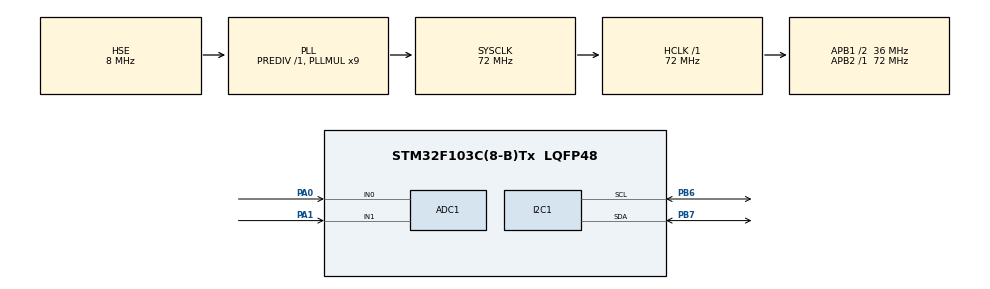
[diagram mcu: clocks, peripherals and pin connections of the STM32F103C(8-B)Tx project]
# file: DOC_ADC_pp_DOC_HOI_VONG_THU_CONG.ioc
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ADC1.Channel-0\#ChannelRegularConversion=ADC_CHANNEL_1
ADC1.Channel-1\#ChannelRegularConversion=ADC_CHANNEL_0
ADC1.ContinuousConvMode=ENABLE
ADC1.NbrOfConversion=2
ADC1.NbrOfConversionFlag=1
ADC1.Rank-0\#ChannelRegularConversion=1
ADC1.Rank-1\#ChannelRegularConversion=2
ADC1.SamplingTime-0\#ChannelRegularConversion=ADC_SAMPLETIME_239CYCLES_5
ADC1.SamplingTime-1\#ChannelRegularConversion=ADC_SAMPLETIME_239CYCLES_5
ADC1.master=1
Mcu.Family=STM32F1
Mcu.Name=STM32F103C(8-B)Tx
Mcu.Package=LQFP48
NVIC.PriorityGroup=NVIC_PRIORITYGROUP_4
PA0-WKUP.Signal=ADCx_IN0
PA1.Signal=ADCx_IN1
PA13.Mode=Serial_Wire
PA13.Signal=SYS_JTMS-SWDIO
PA14.Mode=Serial_Wire
PA14.Signal=SYS_JTCK-SWCLK
PB6.Mode=I2C
PB6.Signal=I2C1_SCL
PB7.Mode=I2C
PB7.Signal=I2C1_SDA
PD0-OSC_IN.Mode=HSE-External-Oscillator
PD0-OSC_IN.Signal=RCC_OSC_IN
PD1-OSC_OUT.Mode=HSE-External-Oscillator
PD1-OSC_OUT.Signal=RCC_OSC_OUT
ProjectManager.HeapSize=0x200
ProjectManager.StackSize=0x400
ProjectManager.TargetToolchain=MDK-ARM V5.32
RCC.ADCPresc=RCC_ADCPCLK2_DIV6
RCC.AHBFreq_Value=72000000
RCC.APB1CLKDivider=RCC_HCLK_DIV2
RCC.APB1Freq_Value=36000000
RCC.APB1TimFreq_Value=72000000
RCC.APB2Freq_Value=72000000
RCC.APB2TimFreq_Value=72000000
RCC.HCLKFreq_Value=72000000
RCC.PLLMUL=RCC_PLL_MUL9
RCC.PLLSourceVirtual=RCC_PLLSOURCE_HSE
RCC.SYSCLKFreq_VALUE=72000000
RCC.SYSCLKSource=RCC_SYSCLKSOURCE_PLLCLK
RCC.USBFreq_Value=72000000
SH.ADCx_IN0.0=ADC1_IN0,IN0
SH.ADCx_IN1.0=ADC1_IN1,IN1
board=custom

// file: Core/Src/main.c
/* USER CODE BEGIN Header */
/**
  ******************************************************************************
  * @file           : main.c
  * @brief          : Main program body
  ******************************************************************************
  * @attention
  *
  * Copyright (c) 2022 STMicroelectronics.
  * All rights reserved.
  *
  * This software is licensed under terms that can be found in the LICENSE file
  * in the root directory of this software component.
  * If no LICENSE file comes with this software, it is provided AS-IS.
  *
  ******************************************************************************
  */
/* USER CODE END Header */
#include "main.h"

/* USER CODE BEGIN Includes */
#include "i2c-lcd.h"
/* USER CODE END Includes */

 ADC_HandleTypeDef hadc1;

I2C_HandleTypeDef hi2c1;

void SystemClock_Config(void);
static void MX_GPIO_Init(void);
static void MX_ADC1_Init(void);
static void MX_I2C1_Init(void);

/* USER CODE BEGIN 0 */
//khoi tao kenh 1
void ADC_Select_CH0()
{
	ADC_ChannelConfTypeDef sConfig = {0};
	sConfig.Channel = ADC_CHANNEL_0;
	sConfig.Rank = ADC_REGULAR_RANK_1;
	sConfig.SamplingTime = ADC_SAMPLETIME_239CYCLES_5;
	if(HAL_ADC_ConfigChannel(&hadc1,&sConfig) != HAL_OK)
	{
		Error_Handler();
	}
}

//khoi tao kenh2
void ADC_Select_CH1()
{
	ADC_ChannelConfTypeDef sConfig = {0};
	sConfig.Channel = ADC_CHANNEL_1;
	sConfig.Rank = ADC_REGULAR_RANK_1;
	sConfig.SamplingTime = ADC_SAMPLETIME_239CYCLES_5;
	if(HAL_ADC_ConfigChannel(&hadc1,&sConfig) != HAL_OK)
	{
		Error_Handler();
	}
}
//khoi tao kenh 2

uint32_t ADC_VAL[2];
/* USER CODE END 0 */

int main(void)
{

  /* MCU Configuration--------------------------------------------------------*/

  /* Reset of all peripherals, Initializes the Flash interface and the Systick. */
  HAL_Init();

  /* Configure the system clock */
  SystemClock_Config();

  /* Initialize all configured peripherals */
  MX_GPIO_Init();
  MX_ADC1_Init();
  MX_I2C1_Init();
  /* USER CODE BEGIN 2 */
	lcd_init();

  /* USER CODE END 2 */

  /* Infinite loop */
  while (1)
  {

    /* USER CODE BEGIN 3 */

	//hien thi LCD
		lcd_put_cur(0,0);
		lcd_send_string("VALUE1: ");
		lcd_send_data((ADC_VAL[0]/1000) + 48);
		lcd_send_data((ADC_VAL[0]/100)%10 + 48);
		lcd_send_data(((ADC_VAL[0]/10)%10) + 48);
		lcd_send_data((ADC_VAL[0]%10) + 48);

		lcd_send_cmd(0x80|0x40);
		lcd_send_string("VALUE2: ");
		lcd_send_data((ADC_VAL[1]/1000) + 48);
		lcd_send_data(((ADC_VAL[1]/100)%10) + 48);
		lcd_send_data(((ADC_VAL[1]/10)%10) + 48);
		lcd_send_data((ADC_VAL[1]%10) + 48);

	 ADC_Select_CH0();
   HAL_ADC_Start(&hadc1);
   HAL_ADC_PollForConversion(&hadc1, 1000);
   ADC_VAL[0] = HAL_ADC_GetValue(&hadc1);
   HAL_ADC_Stop(&hadc1);
   HAL_Delay(10);
   ADC_Select_CH1();
   HAL_ADC_Start(&hadc1);
   HAL_ADC_PollForConversion(&hadc1, 1000);
   ADC_VAL[1] = HAL_ADC_GetValue(&hadc1);
   HAL_ADC_Stop(&hadc1);
   HAL_Delay(10);

  }
  /* USER CODE END 3 */
}

void SystemClock_Config(void)
{
  RCC_OscInitTypeDef RCC_OscInitStruct = {0};
  RCC_ClkInitTypeDef RCC_ClkInitStruct = {0};
  RCC_PeriphCLKInitTypeDef PeriphClkInit = {0};

  /** Initializes the RCC Oscillators according to the specified parameters
  * in the RCC_OscInitTypeDef structure.
  */
  RCC_OscInitStruct.OscillatorType = RCC_OSCILLATORTYPE_HSE;
  RCC_OscInitStruct.HSEState = RCC_HSE_ON;
  RCC_OscInitStruct.HSEPredivValue = RCC_HSE_PREDIV_DIV1;
  RCC_OscInitStruct.HSIState = RCC_HSI_ON;
  RCC_OscInitStruct.PLL.PLLState = RCC_PLL_ON;
  RCC_OscInitStruct.PLL.PLLSource = RCC_PLLSOURCE_HSE;
  RCC_OscInitStruct.PLL.PLLMUL = RCC_PLL_MUL9;
  if (HAL_RCC_OscConfig(&RCC_OscInitStruct) != HAL_OK)
  {
    Error_Handler();
  }

  /** Initializes the CPU, AHB and APB buses clocks
  */
  RCC_ClkInitStruct.ClockType = RCC_CLOCKTYPE_HCLK|RCC_CLOCKTYPE_SYSCLK
                              |RCC_CLOCKTYPE_PCLK1|RCC_CLOCKTYPE_PCLK2;
  RCC_ClkInitStruct.SYSCLKSource = RCC_SYSCLKSOURCE_PLLCLK;
  RCC_ClkInitStruct.AHBCLKDivider = RCC_SYSCLK_DIV1;
  RCC_ClkInitStruct.APB1CLKDivider = RCC_HCLK_DIV2;
  RCC_ClkInitStruct.APB2CLKDivider = RCC_HCLK_DIV1;

  if (HAL_RCC_ClockConfig(&RCC_ClkInitStruct, FLASH_LATENCY_2) != HAL_OK)
  {
    Error_Handler();
  }
  PeriphClkInit.PeriphClockSelection = RCC_PERIPHCLK_ADC;
  PeriphClkInit.AdcClockSelection = RCC_ADCPCLK2_DIV6;
  if (HAL_RCCEx_PeriphCLKConfig(&PeriphClkInit) != HAL_OK)
  {
    Error_Handler();
  }
}

static void MX_ADC1_Init(void)
{

  ADC_ChannelConfTypeDef sConfig = {0};

  /** Common config
  */
  hadc1.Instance = ADC1;
  hadc1.Init.ScanConvMode = ADC_SCAN_ENABLE;
  hadc1.Init.ContinuousConvMode = ENABLE;
  hadc1.Init.DiscontinuousConvMode = DISABLE;
  hadc1.Init.ExternalTrigConv = ADC_SOFTWARE_START;
  hadc1.Init.DataAlign = ADC_DATAALIGN_RIGHT;
  hadc1.Init.NbrOfConversion = 2;
  if (HAL_ADC_Init(&hadc1) != HAL_OK)
  {
    Error_Handler();
  }

  /** Configure Regular Channel
  */
  sConfig.Channel = ADC_CHANNEL_1;
  sConfig.Rank = ADC_REGULAR_RANK_1;
  sConfig.SamplingTime = ADC_SAMPLETIME_239CYCLES_5;
  if (HAL_ADC_ConfigChannel(&hadc1, &sConfig) != HAL_OK)
  {
    Error_Handler();
  }

  /** Configure Regular Channel
  */
  sConfig.Channel = ADC_CHANNEL_0;
  sConfig.Rank = ADC_REGULAR_RANK_2;
  if (HAL_ADC_ConfigChannel(&hadc1, &sConfig) != HAL_OK)
  {
    Error_Handler();
  }

}

static void MX_I2C1_Init(void)
{

  hi2c1.Instance = I2C1;
  hi2c1.Init.ClockSpeed = 100000;
  hi2c1.Init.DutyCycle = I2C_DUTYCYCLE_2;
  hi2c1.Init.OwnAddress1 = 0;
  hi2c1.Init.AddressingMode = I2C_ADDRESSINGMODE_7BIT;
  hi2c1.Init.DualAddressMode = I2C_DUALADDRESS_DISABLE;
  hi2c1.Init.OwnAddress2 = 0;
  hi2c1.Init.GeneralCallMode = I2C_GENERALCALL_DISABLE;
  hi2c1.Init.NoStretchMode = I2C_NOSTRETCH_DISABLE;
  if (HAL_I2C_Init(&hi2c1) != HAL_OK)
  {
    Error_Handler();
  }

}

static void MX_GPIO_Init(void)
{

  /* GPIO Ports Clock Enable */
  __HAL_RCC_GPIOD_CLK_ENABLE();
  __HAL_RCC_GPIOA_CLK_ENABLE();
  __HAL_RCC_GPIOB_CLK_ENABLE();

}

void Error_Handler(void)
{
  __disable_irq();
  while (1)
  {
  }
}
